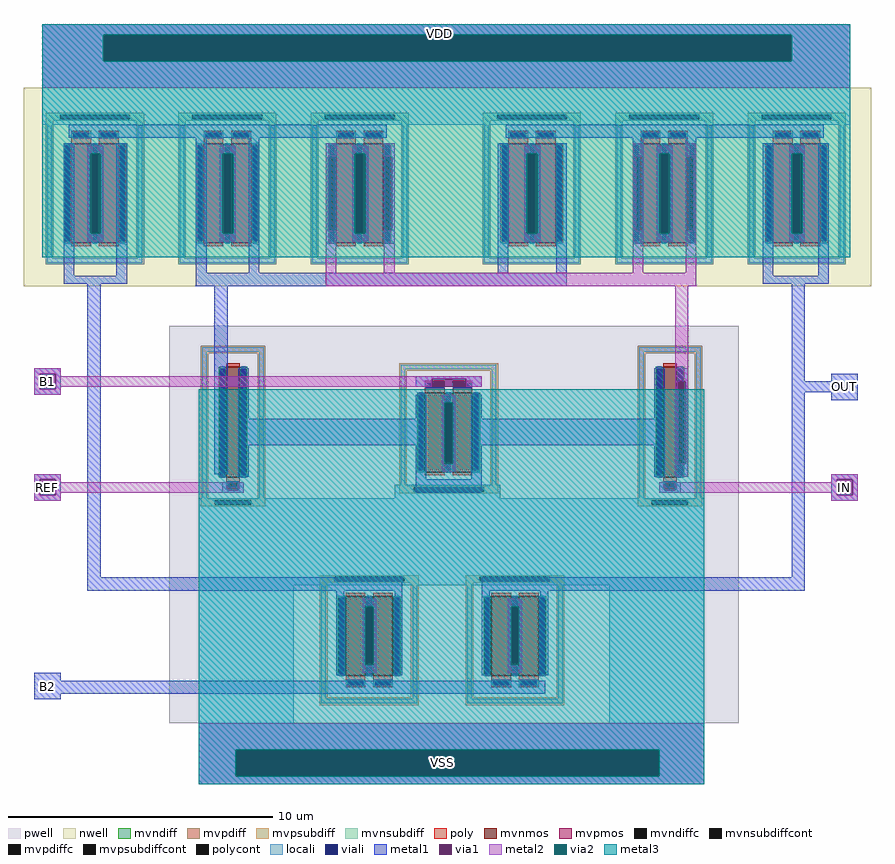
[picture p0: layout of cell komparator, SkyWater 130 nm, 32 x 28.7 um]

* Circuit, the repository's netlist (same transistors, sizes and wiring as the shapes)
** sch_path: /foss/designs/kerjapraktik/test/komparator_5/komparator.sch
.subckt komparator VDD VSS OUT IN REF B1 B2
*.PININFO VDD:B VSS:B OUT:O IN:I REF:I B1:I B2:I
XM12 net1 net1 VDD VDD sky130_fd_pr__pfet_g5v0d10v5 L=0.75 W=7.5 nf=2 m=1
XM1 net2 net1 VDD VDD sky130_fd_pr__pfet_g5v0d10v5 L=0.75 W=7.5 nf=2 m=1
XM3 net1 net2 VDD VDD sky130_fd_pr__pfet_g5v0d10v5 L=0.75 W=7.5 nf=2 m=1
XM5 net2 net2 VDD VDD sky130_fd_pr__pfet_g5v0d10v5 L=0.75 W=7.5 nf=2 m=1
XM6 OUT net2 VDD VDD sky130_fd_pr__pfet_g5v0d10v5 L=0.75 W=7.5 nf=2 m=1
XM2 net1 REF net3 VSS sky130_fd_pr__nfet_g5v0d10v5 L=0.5 W=4.16 nf=1 m=1
XM7 net2 IN net3 VSS sky130_fd_pr__nfet_g5v0d10v5 L=0.5 W=4.16 nf=1 m=1
XM8 net3 B1 VSS VSS sky130_fd_pr__nfet_g5v0d10v5 L=0.75 W=6 nf=2 m=1
XM9 net4 B2 VSS VSS sky130_fd_pr__nfet_g5v0d10v5 L=0.75 W=6 nf=2 m=1
XM10 OUT B2 VSS VSS sky130_fd_pr__nfet_g5v0d10v5 L=0.75 W=6 nf=2 m=1
XM4 net4 net1 VDD VDD sky130_fd_pr__pfet_g5v0d10v5 L=0.75 W=7.5 nf=2 m=1
.ends

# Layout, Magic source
magic
tech sky130A
magscale 1 2
<< nwell >>
rect -200 1700 6200 3200
<< pwell >>
rect 900 -1600 5200 1400
<< locali >>
rect -60 3600 6040 3680
rect -60 3400 400 3600
rect 5600 3400 6040 3600
rect -60 2920 6040 3400
rect 2600 100 3400 200
rect 1120 -560 4940 100
rect 1120 -1600 1840 -560
rect 4220 -1600 4940 -560
rect 1120 -1800 4940 -1600
rect 1120 -2000 1400 -1800
rect 4600 -2000 4940 -1800
rect 1120 -2060 4940 -2000
<< viali >>
rect 400 3400 5600 3600
rect 1400 -2000 4600 -1800
<< metal1 >>
rect -60 3600 6040 3680
rect -60 3400 400 3600
rect 5600 3400 6040 3600
rect -60 3200 6040 3400
rect 140 2820 2540 2920
rect 3440 2820 5840 2920
rect 100 1780 180 2780
rect 280 2700 400 2760
rect 280 2100 300 2700
rect 380 2100 400 2700
rect 280 2040 400 2100
rect 500 1780 580 2780
rect 100 1720 580 1780
rect 1100 1800 1180 2820
rect 1280 2700 1400 2760
rect 1280 2100 1300 2700
rect 1380 2100 1400 2700
rect 1280 2040 1400 2100
rect 1500 1800 1580 2820
rect 2080 2680 2160 2780
rect 2080 2120 2100 2680
rect 2080 2020 2160 2120
rect 2280 2700 2400 2760
rect 2280 2100 2300 2700
rect 2380 2100 2400 2700
rect 2280 2040 2400 2100
rect 2520 2680 2600 2780
rect 2580 2120 2600 2680
rect 2520 2020 2600 2120
rect 3380 1800 3460 2780
rect 3580 2700 3700 2760
rect 3580 2100 3600 2700
rect 3680 2100 3700 2700
rect 3580 2040 3700 2100
rect 3820 1800 3900 2780
rect 4400 2680 4480 2820
rect 4400 2120 4420 2680
rect 4400 2020 4480 2120
rect 4580 2700 4700 2760
rect 4580 2100 4600 2700
rect 4680 2100 4700 2700
rect 4580 2040 4700 2100
rect 4800 2680 4880 2820
rect 4860 2120 4880 2680
rect 4800 2040 4880 2120
rect -120 1040 80 1080
rect -120 920 -80 1040
rect 40 920 80 1040
rect -120 880 80 920
rect -120 240 80 280
rect -120 120 -80 240
rect 40 120 80 240
rect -120 80 80 120
rect 280 -500 380 1720
rect 1100 1700 3900 1800
rect 5380 1780 5460 2780
rect 5580 2700 5700 2760
rect 5580 2100 5600 2700
rect 5680 2100 5700 2700
rect 5580 2040 5700 2100
rect 5800 1780 5880 2780
rect 5380 1720 5880 1780
rect 1240 280 1340 1700
rect 1420 700 1500 1080
rect 2760 1000 3260 1020
rect 2760 940 2880 1000
rect 3140 940 3260 1000
rect 2760 700 2840 880
rect 1420 500 2840 700
rect 1420 260 1500 500
rect 2760 240 2840 500
rect 2960 820 3060 880
rect 2960 360 2980 820
rect 3040 360 3060 820
rect 2960 300 3060 360
rect 3180 700 3260 880
rect 4560 700 4640 1080
rect 3180 500 4640 700
rect 3180 240 3260 500
rect 4560 260 4640 500
rect 4720 980 4820 1080
rect 4720 360 4740 980
rect 4800 360 4820 980
rect 4720 260 4820 360
rect 5600 980 5700 1720
rect 5900 980 6100 1040
rect 5600 900 6100 980
rect 1300 160 1340 220
rect 1420 160 1460 220
rect 1300 140 1460 160
rect 2760 140 3260 240
rect 4600 160 4640 220
rect 4720 160 4760 220
rect 4600 140 4760 160
rect 5600 -500 5700 900
rect 5900 840 6100 900
rect 5900 240 6100 280
rect 5900 120 5940 240
rect 6060 120 6100 240
rect 5900 80 6100 120
rect 280 -600 2660 -500
rect -120 -1280 80 -1220
rect 2160 -1240 2220 -600
rect 2360 -720 2460 -660
rect 2360 -1160 2380 -720
rect 2440 -1160 2460 -720
rect 2360 -1220 2460 -1160
rect 2600 -1240 2660 -600
rect 3260 -600 5700 -500
rect 3260 -1240 3320 -600
rect 3460 -720 3560 -660
rect 3460 -1160 3480 -720
rect 3540 -1160 3560 -720
rect 3460 -1220 3560 -1160
rect 3700 -1240 3760 -600
rect -120 -1380 3740 -1280
rect -120 -1420 80 -1380
rect 1120 -1800 4940 -1600
rect 1120 -2000 1400 -1800
rect 4600 -2000 4940 -1800
rect 1120 -2060 4940 -2000
<< via1 >>
rect 400 3400 5600 3600
rect 300 2100 380 2700
rect 1300 2100 1380 2700
rect 2100 2120 2160 2680
rect 2300 2100 2380 2700
rect 2520 2120 2580 2680
rect 3600 2100 3680 2700
rect 4420 2120 4480 2680
rect 4600 2100 4680 2700
rect 4800 2120 4860 2680
rect -80 920 40 1040
rect -80 120 40 240
rect 5600 2100 5680 2700
rect 2880 940 3140 1000
rect 2980 360 3040 820
rect 4740 360 4800 980
rect 1340 160 1420 220
rect 4640 160 4720 220
rect 5940 120 6060 240
rect 2380 -1160 2440 -720
rect 3480 -1160 3540 -720
rect 1400 -2000 4600 -1800
<< metal2 >>
rect -60 3600 6040 3680
rect -60 3400 400 3600
rect 5600 3400 6040 3600
rect -60 3200 6040 3400
rect 280 2700 400 2760
rect 280 2100 300 2700
rect 380 2100 400 2700
rect 280 2040 400 2100
rect 1280 2700 1400 2760
rect 1280 2100 1300 2700
rect 1380 2100 1400 2700
rect 1280 2040 1400 2100
rect 2080 2680 2160 2780
rect 2080 2120 2100 2680
rect 2080 1800 2160 2120
rect 2280 2700 2400 2760
rect 2280 2100 2300 2700
rect 2380 2100 2400 2700
rect 2280 2040 2400 2100
rect 2520 2680 2600 2780
rect 2580 2120 2600 2680
rect 2520 1800 2600 2120
rect 3580 2700 3700 2760
rect 3580 2100 3600 2700
rect 3680 2100 3700 2700
rect 3580 2040 3700 2100
rect 4400 2680 4480 2780
rect 4400 2120 4420 2680
rect 4400 1800 4480 2120
rect 4580 2700 4700 2760
rect 4580 2100 4600 2700
rect 4680 2100 4700 2700
rect 4580 2040 4700 2100
rect 4800 2680 4880 2780
rect 4860 2120 4880 2680
rect 4800 1800 4880 2120
rect 5580 2700 5700 2760
rect 5580 2100 5600 2700
rect 5680 2100 5700 2700
rect 5580 2040 5700 2100
rect 2080 1700 4880 1800
rect -120 1040 80 1080
rect -120 920 -80 1040
rect 40 1020 80 1040
rect 40 1000 3260 1020
rect 40 940 2880 1000
rect 3140 940 3260 1000
rect 4720 980 4820 1700
rect 40 920 80 940
rect -120 880 80 920
rect 2960 820 3060 880
rect 2960 360 2980 820
rect 3040 360 3060 820
rect 2960 300 3060 360
rect 4720 360 4740 980
rect 4800 360 4820 980
rect -120 240 80 280
rect 4720 260 4820 360
rect -120 120 -80 240
rect 40 220 80 240
rect 5900 240 6100 280
rect 5900 220 5940 240
rect 40 160 1340 220
rect 1420 160 1460 220
rect 40 140 1460 160
rect 4600 160 4640 220
rect 4720 160 5940 220
rect 4600 140 5940 160
rect 40 120 80 140
rect -120 80 80 120
rect 5900 120 5940 140
rect 6060 120 6100 240
rect 5900 80 6100 120
rect 2360 -720 2460 -660
rect 2360 -1160 2380 -720
rect 2440 -1160 2460 -720
rect 2360 -1220 2460 -1160
rect 3460 -720 3560 -660
rect 3460 -1160 3480 -720
rect 3540 -1160 3560 -720
rect 3460 -1220 3560 -1160
rect 1120 -1800 4940 -1600
rect 1120 -2000 1400 -1800
rect 4600 -2000 4940 -1800
rect 1120 -2060 4940 -2000
<< via2 >>
rect 400 3400 5600 3600
rect 300 2100 380 2700
rect 1300 2100 1380 2700
rect 2300 2100 2380 2700
rect 3600 2100 3680 2700
rect 4600 2100 4680 2700
rect 5600 2100 5680 2700
rect 2980 360 3040 820
rect 2380 -1160 2440 -720
rect 3480 -1160 3540 -720
rect 1400 -2000 4600 -1800
<< metal3 >>
rect -60 3600 6040 3680
rect -60 3400 400 3600
rect 5600 3400 6040 3600
rect -60 2700 6040 3400
rect -60 2100 300 2700
rect 380 2100 1300 2700
rect 1380 2100 2300 2700
rect 2380 2100 3600 2700
rect 3680 2100 4600 2700
rect 4680 2100 5600 2700
rect 5680 2100 6040 2700
rect -60 1920 6040 2100
rect 1120 820 4940 920
rect 1120 360 2980 820
rect 3040 360 4940 820
rect 1120 -720 4940 360
rect 1120 -1160 2380 -720
rect 2440 -1160 3480 -720
rect 3540 -1160 4940 -720
rect 1120 -1800 4940 -1160
rect 1120 -2000 1400 -1800
rect 4600 -2000 4940 -1800
rect 1120 -2060 4940 -2000
use sky130_fd_pr__nfet_g5v0d10v5_M8BW5G  sky130_fd_pr__nfet_g5v0d10v5_M8BW5G_0
transform 1 0 3509 0 1 -973
box -409 -527 409 527
use sky130_fd_pr__nfet_g5v0d10v5_Q9M6JL  sky130_fd_pr__nfet_g5v0d10v5_Q9M6JL_0
transform -1 0 4680 0 -1 643
box -280 -643 280 643
use sky130_fd_pr__pfet_g5v0d10v5_9YPSFX  sky130_fd_pr__pfet_g5v0d10v5_9YPSFX_0
transform 1 0 4637 0 1 2437
box -437 -637 437 637
use sky130_fd_pr__pfet_g5v0d10v5_9YPSFX  XM1
transform 1 0 2337 0 1 2437
box -437 -637 437 637
use sky130_fd_pr__nfet_g5v0d10v5_TMHSMU  XM2
transform 1 0 1380 0 1 643
box -280 -643 280 643
use sky130_fd_pr__pfet_g5v0d10v5_9YPSFX  XM3
transform 1 0 3637 0 1 2437
box -437 -637 437 637
use sky130_fd_pr__pfet_g5v0d10v5_9YPSFX  XM4
transform 1 0 337 0 1 2437
box -437 -637 437 637
use sky130_fd_pr__pfet_g5v0d10v5_9YPSFX  XM6
transform 1 0 5637 0 1 2437
box -437 -637 437 637
use sky130_fd_pr__nfet_g5v0d10v5_44FAKH  XM8
transform 1 0 3009 0 1 627
box -409 -527 409 527
use sky130_fd_pr__nfet_g5v0d10v5_M8BW5G  XM9
transform 1 0 2409 0 1 -973
box -409 -527 409 527
use sky130_fd_pr__pfet_g5v0d10v5_9YPSFX  XM12
transform 1 0 1337 0 1 2437
box -437 -637 437 637
<< labels >>
flabel metal1 -120 880 80 1080 0 FreeSans 256 0 0 0 B1
port 5 nsew
flabel metal1 -120 80 80 280 0 FreeSans 256 0 0 0 REF
port 4 nsew
flabel metal1 5900 80 6100 280 0 FreeSans 256 0 0 0 IN
port 3 nsew
flabel metal1 5900 840 6100 1040 0 FreeSans 256 0 0 0 OUT
port 2 nsew
flabel metal1 -120 -1420 80 -1220 0 FreeSans 256 0 0 0 B2
port 6 nsew
flabel metal1 2840 3600 3040 3620 0 FreeSans 256 0 0 0 VDD
port 0 nsew
flabel via1 2860 -2000 3060 -1800 0 FreeSans 256 0 0 0 VSS
port 1 nsew
<< end >>

# cell sky130_fd_pr__nfet_g5v0d10v5_M8BW5G: kit device sky130_fd_pr__nfet_g5v0d10v5, w 3.0 l 0.75 m 1 nf 2 diffcov 100 polycov 100 guard 1 glc 0 grc 0 gtc 1 gbc 0 tbcov 100 rlcov 100 topc 0 botc 1 poverlap 0 doverlap 1 lmin 0.50 wmin 0.42 class mosfet compatible {sky130_fd_pr__nfet_01v8 sky130_fd_pr__nfet_01v8_lvt sky130_fd_bs_flash__special_sonosfet_star sky130_fd_pr__nfet_g5v0d10v5 sky130_fd_pr__nfet_05v0_nvt sky130_fd_pr__nfet_03v3_nvt} full_metal 1 conn_gates 0 viasrc 100 viadrn 100 viagate 100 viagb 0 viagr 0 viagl 0 viagt 0 doports 1

# cell sky130_fd_pr__nfet_g5v0d10v5_Q9M6JL: kit device sky130_fd_pr__nfet_g5v0d10v5, w 4.16 l 0.5 m 1 nf 1 diffcov 100 polycov 100 guard 1 glc 0 grc 0 gtc 1 gbc 0 tbcov 100 rlcov 100 topc 1 botc 0 poverlap 0 doverlap 1 lmin 0.50 wmin 0.42 class mosfet compatible {sky130_fd_pr__nfet_01v8 sky130_fd_pr__nfet_01v8_lvt sky130_fd_bs_flash__special_sonosfet_star sky130_fd_pr__nfet_g5v0d10v5 sky130_fd_pr__nfet_05v0_nvt sky130_fd_pr__nfet_03v3_nvt} full_metal 1 conn_gates 0 viasrc 100 viadrn 100 viagate 100 viagb 0 viagr 0 viagl 0 viagt 0 doports 1

# cell sky130_fd_pr__pfet_g5v0d10v5_9YPSFX: kit device sky130_fd_pr__pfet_g5v0d10v5, w 3.75 l 0.75 m 1 nf 2 diffcov 100 polycov 100 guard 1 glc 0 grc 0 gtc 1 gbc 0 tbcov 100 rlcov 100 topc 1 botc 0 poverlap 0 doverlap 1 lmin 0.50 wmin 0.42 class mosfet compatible {sky130_fd_pr__pfet_01v8 sky130_fd_pr__pfet_01v8_lvt sky130_fd_pr__pfet_01v8_hvt sky130_fd_pr__pfet_g5v0d10v5} full_metal 1 conn_gates 0 viasrc 100 viadrn 100 viagate 100 viagb 0 viagr 0 viagl 0 viagt 0 doports 1

# cell sky130_fd_pr__nfet_g5v0d10v5_TMHSMU: kit device sky130_fd_pr__nfet_g5v0d10v5, w 4.16 l 0.5 m 1 nf 1 diffcov 100 polycov 100 guard 1 glc 0 grc 0 gtc 0 gbc 1 tbcov 100 rlcov 100 topc 0 botc 1 poverlap 0 doverlap 1 lmin 0.50 wmin 0.42 class mosfet compatible {sky130_fd_pr__nfet_01v8 sky130_fd_pr__nfet_01v8_lvt sky130_fd_bs_flash__special_sonosfet_star sky130_fd_pr__nfet_g5v0d10v5 sky130_fd_pr__nfet_05v0_nvt sky130_fd_pr__nfet_03v3_nvt} full_metal 1 conn_gates 0 viasrc 100 viadrn 100 viagate 100 viagb 0 viagr 0 viagl 0 viagt 0 doports 1

# cell sky130_fd_pr__nfet_g5v0d10v5_44FAKH: kit device sky130_fd_pr__nfet_g5v0d10v5, w 3.0 l 0.75 m 1 nf 2 diffcov 100 polycov 100 guard 1 glc 0 grc 0 gtc 0 gbc 1 tbcov 100 rlcov 100 topc 1 botc 0 poverlap 0 doverlap 1 lmin 0.50 wmin 0.42 class mosfet compatible {sky130_fd_pr__nfet_01v8 sky130_fd_pr__nfet_01v8_lvt sky130_fd_bs_flash__special_sonosfet_star sky130_fd_pr__nfet_g5v0d10v5 sky130_fd_pr__nfet_05v0_nvt sky130_fd_pr__nfet_03v3_nvt} full_metal 1 conn_gates 0 viasrc 100 viadrn 100 viagate 100 viagb 0 viagr 0 viagl 0 viagt 0 doports 1
